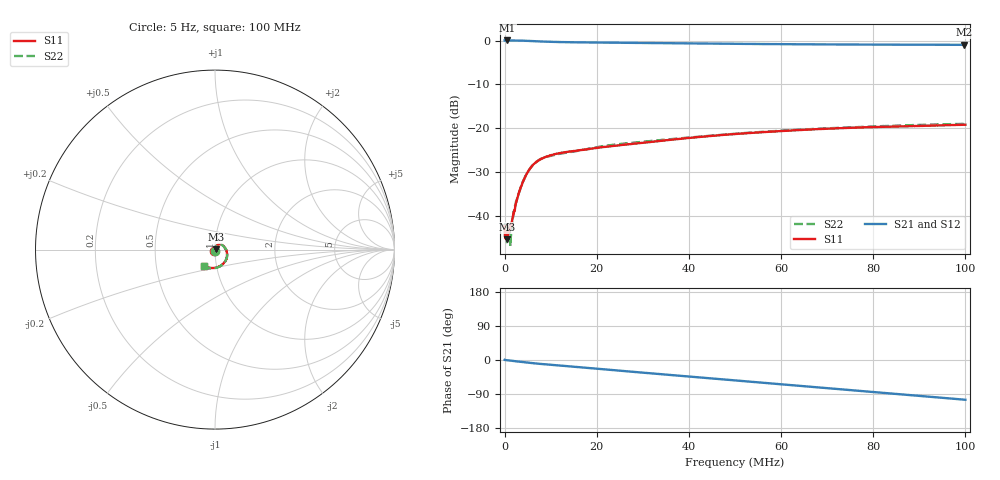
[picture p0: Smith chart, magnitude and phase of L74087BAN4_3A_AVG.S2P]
!Agilent Technologies,E5061B,MY49102235,A.02.00
!Date: Tue Jul 11 16:14:05 2023
!Data & Calibration Information:
!Freq	S11:SOLT2(ON)	S21:SOLT2(ON)	S12:SOLT2(ON)	S22:SOLT2(ON)
# Hz S RI R 50
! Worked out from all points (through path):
!   1600 points, 5 Hz to 100 MHz, reference 50 ohm
!   highest |S21| = 0.02 dB at 625.4 kHz (marker M1); lowest = -1.0 dB at 99.75 MHz (marker M2)
!   group delay of S21, straight-line fit = 2.86 ns
!   lowest |S11| = -45.3 dB at 500.3 kHz (marker M3), VSWR 1.01, Z = 50.5 + j0.269 ohm
!   |S11| at or under -10 dB: start of sweep to end of sweep
!   |S22| runs from -46.9 to -19.0 dB; largest |S21 - S12| = 0.0024
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5  -0.00518 -0.00563  1.002 0.00816  1 0.0102  -0.00148 -0.00757
500317.7  0.0047 0.00267  1.001 -0.0107  1.002 -0.0108  0.00491 0.00108
625395.8  0.00524 0.00328  1.002 -0.0143  1.002 -0.0141  0.00624 0.0029
938091.3  0.00458 0.00544  1.001 -0.0208  1.001 -0.0205  0.00614 0.00485
1313326  0.00491 0.00602  1.001 -0.0294  1.001 -0.03  0.00313 0.00446
1688560  0.00451 0.00794  0.9996 -0.0397  1.001 -0.04  0.00425 0.00711
2063795  0.00412 0.0108  1 -0.0491  0.9998 -0.0496  0.00457 0.0106
2376490  0.0047 0.0124  0.9983 -0.0566  0.999 -0.0571  0.00536 0.0127
2939342  0.0067 0.0159  0.997 -0.0707  0.9967 -0.071  0.00566 0.0163
3502194  0.00838 0.0192  0.9946 -0.0848  0.9946 -0.0848  0.00747 0.0198
4627897  0.0139 0.0257  0.9877 -0.1122  0.9875 -0.1121  0.0134 0.0262
5941218  0.0228 0.0293  0.9762 -0.1412  0.9762 -0.141  0.0221 0.0297
7629773  0.0334 0.0288  0.9614 -0.1723  0.9614 -0.1723  0.0329 0.0291
9568485  0.0417 0.0247  0.9466 -0.2047  0.9463 -0.2046  0.041 0.025
1.669794e7  0.0558 0.00874  0.8981 -0.3178  0.898 -0.3178  0.0555 0.00862
2.320201e7  0.0624 -0.00306  0.8478 -0.4187  0.8478 -0.4188  0.0642 -0.00432
3.333334e7  0.0671 -0.0245  0.747 -0.5611  0.7469 -0.561  0.0682 -0.0257
5.003127e7  0.0578 -0.0638  0.5376 -0.7434  0.5374 -0.7434  0.0575 -0.0649
6.672921e7  0.0238 -0.0941  0.2933 -0.8562  0.2935 -0.8563  0.0245 -0.0949
8.33646e7  -0.019 -0.1025  0.0326 -0.8973  0.0325 -0.8975  -0.0187 -0.1047
9.974984e7  -0.0608 -0.0915  -0.2264 -0.8647  -0.2263 -0.8649  -0.0607 -0.0944
1e8  -0.0613 -0.0912  -0.2303 -0.8638  -0.2303 -0.8639  -0.0615 -0.094
